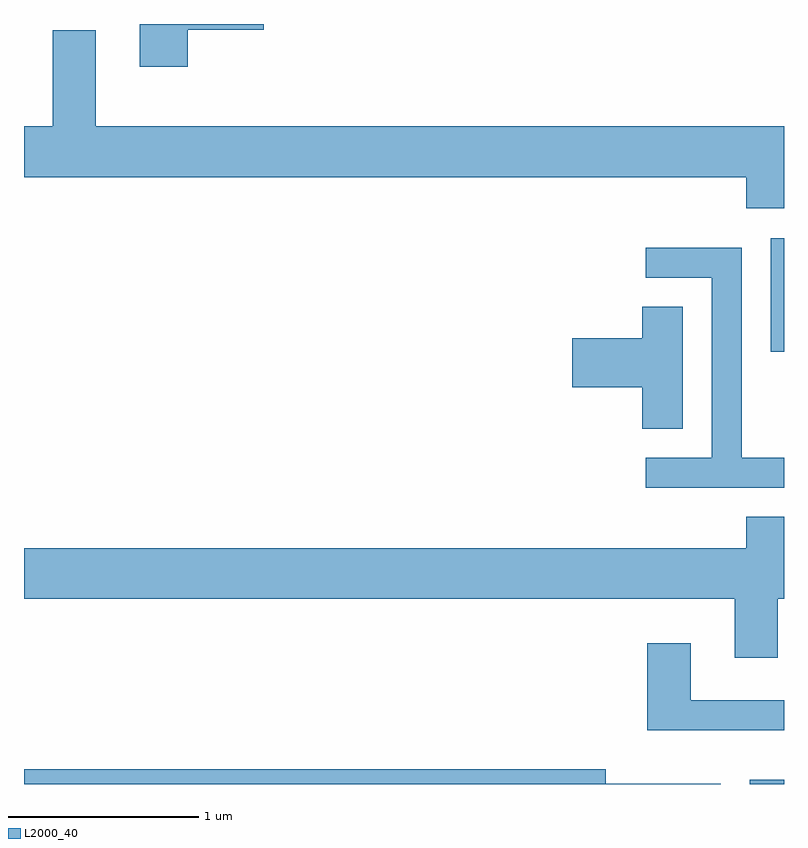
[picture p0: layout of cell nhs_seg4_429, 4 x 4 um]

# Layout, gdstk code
import gdstk
lib = gdstk.Library(unit=1e-6, precision=1e-09)
def R(c, l, rs):  # rectangles x0, y0, x1, y1
    for r in rs: c.add(gdstk.rectangle(r[:2], r[2:], *l))
def P(c, l, *ps):  # polygons
    for p in ps: c.add(gdstk.Polygon(p, *l))
L2000_40 = (2000, 40)

nhs_seg4_429 = lib.new_cell('nhs_seg4_429')
R(nhs_seg4_429, L2000_40, [(201.431,1295.982,201.611,1296.004), (201.541,1298.256,201.611,1298.854)])
P(nhs_seg4_429, L2000_40, [(198.474,1299.951),(198.874,1299.951),(198.874,1299.982),(198.221,1299.982),(198.221,1299.756),(198.474,1299.756)],
  [(201.611,1299.444),(197.989,1299.444),(197.989,1299.949),(197.761,1299.949),(197.761,1299.444),(197.611,1299.444),(197.611,1299.176),(201.411,1299.176),(201.411,1299.011),(201.611,1299.011)],
  [(201.611,1297.699),(201.389,1297.699),(201.389,1298.804),(200.883,1298.804),(200.883,1298.646),(201.231,1298.646),(201.231,1297.699),(200.883,1297.699),(200.883,1297.541),(201.611,1297.541)],
  [(201.079,1298.494),(200.866,1298.494),(200.866,1298.329),(200.496,1298.329),(200.496,1298.071),(200.866,1298.071),(200.866,1297.851),(201.079,1297.851)],
  [(201.579,1296.956),(201.611,1296.956),(201.611,1297.389),(201.411,1297.389),(201.411,1297.224),(197.611,1297.224),(197.611,1296.956),(201.351,1296.956),(201.351,1296.646),(201.579,1296.646)],
  [(201.611,1296.424),(201.119,1296.424),(201.119,1296.724),(200.891,1296.724),(200.891,1296.266),(201.611,1296.266)],
  [(201.279,1295.984),(200.674,1295.984),(200.674,1296.059),(197.611,1296.059),(197.611,1295.982),(201.279,1295.982)])

lib.write_gds('nhs_seg4_429.gds')
